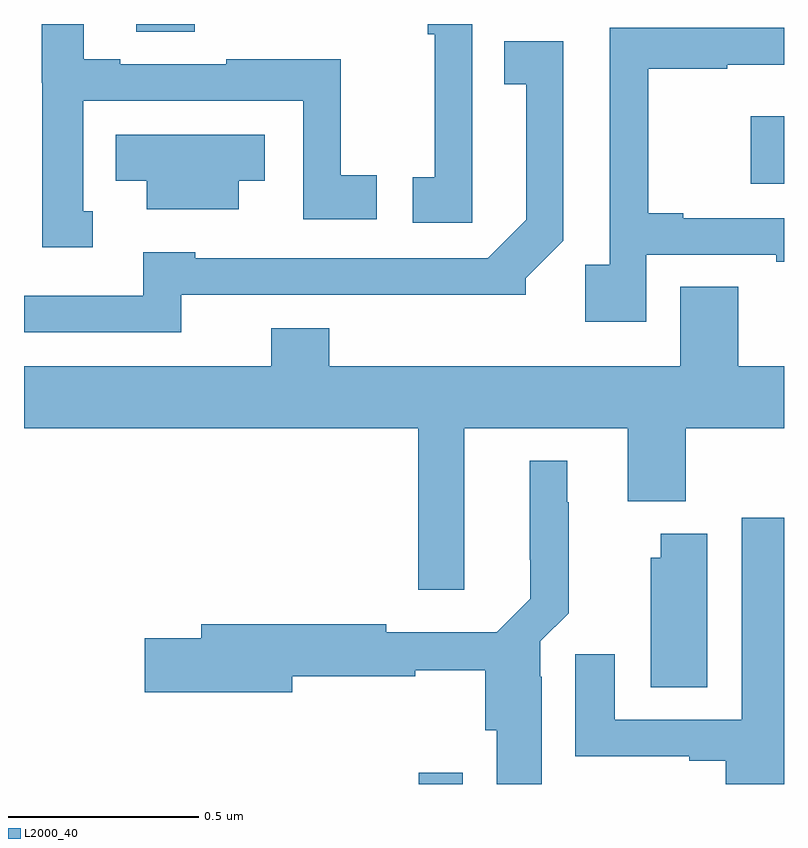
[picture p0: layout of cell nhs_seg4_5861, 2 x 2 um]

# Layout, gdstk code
import gdstk
lib = gdstk.Library(unit=1e-6, precision=1e-09)
def R(c, l, rs):  # rectangles x0, y0, x1, y1
    for r in rs: c.add(gdstk.rectangle(r[:2], r[2:], *l))
def P(c, l, *ps):  # polygons
    for p in ps: c.add(gdstk.Polygon(p, *l))
L2000_40 = (2000, 40)

nhs_seg4_5861 = lib.new_cell('nhs_seg4_5861')
R(nhs_seg4_5861, L2000_40, [(184.039,779.9,184.155,779.929), (184.912,781.479,185,781.657), (183.296,781.879,183.449,781.9)])
P(nhs_seg4_5861, L2000_40, [(183.181,781.407),(183.156,781.407),(183.156,781.698),(183.735,781.698),(183.735,781.386),(183.928,781.386),(183.928,781.502),(183.834,781.502),(183.834,781.807),(183.532,781.807),(183.532,781.794),(183.253,781.794),(183.253,781.807),(183.157,781.807),(183.157,781.9),(183.047,781.9),(183.047,781.745),(183.048,781.745),(183.048,781.313),(183.181,781.313)],
  [(184.18,781.652),(184.179,781.652),(184.179,781.9),(184.063,781.9),(184.063,781.873),(184.081,781.873),(184.081,781.497),(184.023,781.497),(184.023,781.377),(184.18,781.377)],
  [(184.638,781.293),(184.979,781.293),(184.979,781.274),(185,781.274),(185,781.389),(184.735,781.389),(184.735,781.402),(184.643,781.402),(184.643,781.782),(184.85,781.782),(184.85,781.793),(185,781.793),(185,781.89),(184.542,781.89),(184.542,781.267),(184.477,781.267),(184.477,781.116),(184.638,781.116)],
  [(183.414,781.188),(183.886,781.188),(183.886,781.187),(184.32,781.187),(184.32,781.231),(184.419,781.33),(184.419,781.855),(184.264,781.855),(184.264,781.742),(184.322,781.742),(184.322,781.385),(184.221,781.284),(183.45,781.284),(183.45,781.3),(183.314,781.3),(183.314,781.185),(183,781.185),(183,781.089),(183.414,781.089)],
  [(183.565,781.487),(183.634,781.487),(183.634,781.609),(183.241,781.609),(183.241,781.487),(183.323,781.487),(183.323,781.412),(183.565,781.412)],
  [(184.159,780.836),(184.589,780.836),(184.589,780.644),(184.742,780.644),(184.742,780.836),(185,780.836),(185,781),(184.88,781),(184.88,781.208),(184.727,781.208),(184.727,781),(183.803,781),(183.803,781.099),(183.65,781.099),(183.65,781),(183,781),(183,780.836),(184.037,780.836),(184.037,780.411),(184.159,780.411)],
  [(184.363,780.182),(184.359,780.182),(184.359,780.276),(184.433,780.35),(184.433,780.641),(184.429,780.641),(184.429,780.751),(184.331,780.751),(184.331,780.49),(184.332,780.49),(184.332,780.388),(184.244,780.3),(183.953,780.3),(183.953,780.32),(183.467,780.32),(183.467,780.284),(183.318,780.284),(183.318,780.142),(183.706,780.142),(183.706,780.184),(184.03,780.184),(184.03,780.199),(184.214,780.199),(184.214,780.042),(184.244,780.042),(184.244,779.9),(184.363,779.9)],
  [(185,780.601),(184.889,780.601),(184.889,780.069),(184.555,780.069),(184.555,780.241),(184.451,780.241),(184.451,779.973),(184.751,779.973),(184.751,779.961),(184.847,779.961),(184.847,779.9),(185,779.9)],
  [(184.798,780.559),(184.676,780.559),(184.676,780.495),(184.649,780.495),(184.649,780.154),(184.798,780.154)])

lib.write_gds('nhs_seg4_5861.gds')
